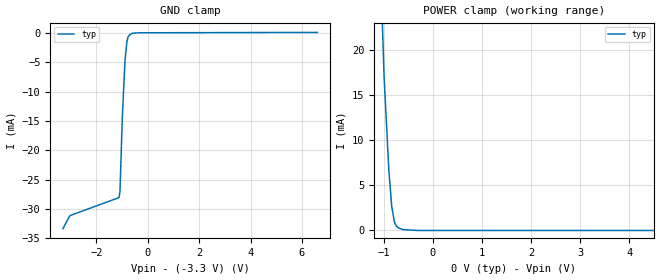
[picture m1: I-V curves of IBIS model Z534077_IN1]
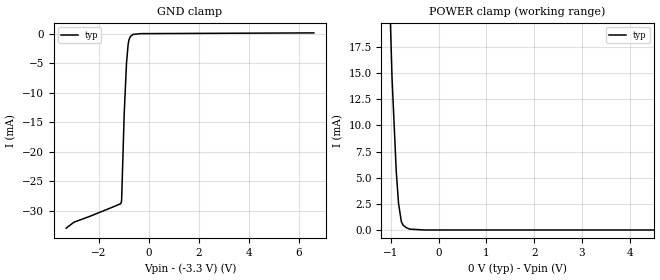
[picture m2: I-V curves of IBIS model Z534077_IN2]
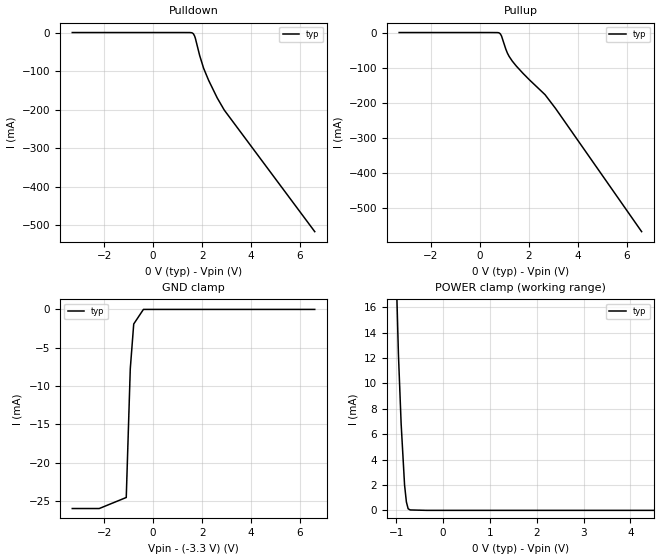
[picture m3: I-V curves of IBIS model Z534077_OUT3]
| YOU ARE ONLY AUTHORIZED TO USE THIS SOFTWARE
| ACCORDING TO LICENSOR'S LICENSE RESTRICTIONS.
[IBIS Ver] 3.1
[File Name] mc100lvel17dw_-33.ibs
[File Rev] 3.0
[Source] Measured and created by ICX Technology
[Date] 2/18/2004
[Copyright]
| (C) COPYRIGHT 1993-2000
| MENTOR GRAPHICS CORPORATION
| ICX STANDARD LIBRARY, ICX PROJECT MODELING,
| ICX CUSTOM MODELING, ICX VENDOR MODEL
| ALL RIGHTS RESERVED.
| THE FOLLOWING ARE TRADEMARKS OR SERVICE MARKS OF
| MENTOR GRAPHICS CORPORATION:ICX (R), ICX STANDARD
| LIBRARY(R), ICX PROJECT MODELING(R), ICX CUSTOM
| MODELING(R), qualityIBIS(TM), MODELVIEWER(TM),
| AND MODELEDITOR(TM)
| ALL COPIES OF SOFTWARE, INCLUDING BUT NOT LIMITED TO
| ANY MODIFICATIONS, ENHANCEMENTS OR DERIVATIVE WORKS,
| MUST CONTAIN ALL MENTOR GRAPHICS CORPORATION'S
| NOTICES AND LEGENDS, INCLUDING THOSE EMBEDDED IN
| SOFTWARE AND THOSE AFFIXED TO SOFTWARE MEDIUM
| AND CONTAINER, AS RECEIVED FROM MENTOR GRAPHICS
| CORPORATION.
|  ZAP Model Builder 2.7
[Component] MC100LVEL17DW_-33
[Manufacturer] OnSemiconductor
[Package]
| variable   typ   min   max
R_pkg  .178ohms NA NA
L_pkg  4.43nH NA NA
C_pkg  .62pF NA NA
[Pin] signal_name  model_name  R_pin  L_pin C_pin
1 VCC POWER .186 5.37n .68p
2 D0 Z534077_IN1 .182 4.89n .65p
3 _D0 Z534077_IN2 .178 4.42n .62p
4 D1 Z534077_IN1 .174 3.96n .59p
5 _D1 Z534077_IN2 .17 3.51n .56p
6 D2 Z534077_IN1 .17 3.51n .56p
7 _D2 Z534077_IN2 .174 3.96n .59p
8 D3 Z534077_IN1 .178 4.42n .62p
9 _D3 Z534077_IN2 .182 4.89n .65p
10 VBB NC .186 5.37n .68p
11 VEE POWER .186 5.37n .68p
12 _Q3 Z534077_OUT3 .182 4.89n .65p
13 Q3 Z534077_OUT3 .178 4.42n .62p
14 _Q2 Z534077_OUT3 .174 3.96n .59p
15 Q2 Z534077_OUT3 .17 3.51n .56p
16 _Q1 Z534077_OUT3 .17 3.51n .56p
17 Q1 Z534077_OUT3 .174 3.96n .59p
18 _Q0 Z534077_OUT3 .178 4.42n .62p
19 Q0 Z534077_OUT3 .182 4.89n .65p
20 VCC POWER .186 5.37n .68p
| Models and submodels in the file (3): Z534077_IN1 (Input_ECL), Z534077_IN2 (Input_ECL), Z534077_OUT3 (Output_ECL)
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| (C) COPYRIGHT 1993-2000
| MENTOR GRAPHICS CORPORATION
| ICX STANDARD LIBRARY, ICX PROJECT MODELING,
| ICX CUSTOM MODELING, ICX VENDOR MODEL
| ALL RIGHTS RESERVED.
| THE FOLLOWING ARE TRADEMARKS OR SERVICE MARKS OF
| MENTOR GRAPHICS CORPORATION:ICX (R), ICX STANDARD
| LIBRARY(R), ICX PROJECT MODELING(R), ICX CUSTOM
| MODELING(R), qualityIBIS(TM), MODELVIEWER(TM),
| AND MODELEDITOR(TM)
| ALL COPIES OF SOFTWARE, INCLUDING BUT NOT LIMITED TO
| ANY MODIFICATIONS, ENHANCEMENTS OR DERIVATIVE WORKS,
| MUST CONTAIN ALL MENTOR GRAPHICS CORPORATION'S
| NOTICES AND LEGENDS, INCLUDING THOSE EMBEDDED IN
| SOFTWARE AND THOSE AFFIXED TO SOFTWARE MEDIUM
| AND CONTAINER, AS RECEIVED FROM MENTOR GRAPHICS
| CORPORATION.
| Model Application Version 1.89 2/18/99.
[Model] Z534077_IN1
Model_type Input_ECL
Vinl = -1.475V
Vinh = -1.165V
C_comp 2.00pF NA NA
| variable typ   min   max
[Voltage Range] -3.300V NA NA
[GND Clamp Reference] -3.300V NA NA
[POWER Clamp Reference] 0.000V NA NA
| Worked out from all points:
|   GND clamp passes 1 mA (typ) near -0.79 V on its own axis
|   POWER clamp passes 1 mA (typ) near -0.78 V on its own axis
[GND Clamp]
-3.3V     -33.35mA   NA         NA
-3.039V   -31.17mA   NA         NA
-1.114V   -27.96mA   NA         NA
-1.081V   -26.98mA   NA         NA
-992mV    -14.59mA   NA         NA
-889mV    -4.951mA   NA         NA
-810mV    -1.384mA   NA         NA
-772mV    -785.8uA   NA         NA
-716mV    -368.9uA   NA         NA
-601mV    -60.26uA   NA         NA
-300.5mV  12.94uA    NA         NA
6.6V      79.97uA    NA         NA
[POWER Clamp]
-3.3V     856.1mA    NA         NA
-1.161V   57.46mA    NA         NA
-1.052V   26.82mA    NA         NA
-995mV    17.08mA    NA         NA
-898.4mV  6.742mA    NA         NA
-839.7mV  2.664mA    NA         NA
-779.9mV  848.9uA    NA         NA
-742.4mV  473uA      NA         NA
-703.1mV  295.1uA    NA         NA
-606.3mV  86.49uA    NA         NA
-303.1mV  0A         NA         NA
6.6V      0A         NA         NA
| (C) COPYRIGHT 1993-2000
| MENTOR GRAPHICS CORPORATION
| ICX STANDARD LIBRARY, ICX PROJECT MODELING,
| ICX CUSTOM MODELING, ICX VENDOR MODEL
| ALL RIGHTS RESERVED.
| THE FOLLOWING ARE TRADEMARKS OR SERVICE MARKS OF
| MENTOR GRAPHICS CORPORATION:ICX (R), ICX STANDARD
| LIBRARY(R), ICX PROJECT MODELING(R), ICX CUSTOM
| MODELING(R), qualityIBIS(TM), MODELVIEWER(TM),
| AND MODELEDITOR(TM)
| ALL COPIES OF SOFTWARE, INCLUDING BUT NOT LIMITED TO
| ANY MODIFICATIONS, ENHANCEMENTS OR DERIVATIVE WORKS,
| MUST CONTAIN ALL MENTOR GRAPHICS CORPORATION'S
| NOTICES AND LEGENDS, INCLUDING THOSE EMBEDDED IN
| SOFTWARE AND THOSE AFFIXED TO SOFTWARE MEDIUM
| AND CONTAINER, AS RECEIVED FROM MENTOR GRAPHICS
| CORPORATION.
| Model Application Version 1.89 2/18/99.
[Model] Z534077_IN2
Model_type Input_ECL
Vinl = -1.475V
Vinh = -1.165V
C_comp 2.000pF NA NA
| variable typ   min   max
[Voltage Range] -3.300V NA NA
[GND Clamp Reference] -3.300V NA NA
[POWER Clamp Reference] 0.000V NA NA
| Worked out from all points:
|   GND clamp passes 1 mA (typ) near -0.78 V on its own axis
|   POWER clamp passes 1 mA (typ) near -0.79 V on its own axis
[GND Clamp]
-3.3V     -32.96mA   NA         NA
-2.994V   -31.96mA   NA         NA
-1.104V   -28.68mA   NA         NA
-1.085V   -28.23mA   NA         NA
-982mV    -13.63mA   NA         NA
-889mV    -4.957mA   NA         NA
-824mV    -1.836mA   NA         NA
-792mV    -1.098mA   NA         NA
-715mV    -428.1uA   NA         NA
-621mV    -142.6uA   NA         NA
-310.5mV  -18.17uA   NA         NA
6.6V      106.9uA    NA         NA
[POWER Clamp]
-3.3V     929.6mA    NA         NA
-1.113V   50.73mA    NA         NA
-1.016V   20.86mA    NA         NA
-976.6mV  14.64mA    NA         NA
-888mV    5.636mA    NA         NA
-839.8mV  2.538mA    NA         NA
-781mV    793.7uA    NA         NA
-742.6mV  449.6uA    NA         NA
-683.6mV  233.2uA    NA         NA
-606mV    82.44uA    NA         NA
-303mV    0A         NA         NA
6.6V      0A         NA         NA
| (C) COPYRIGHT 1993-2000
| MENTOR GRAPHICS CORPORATION
| ICX STANDARD LIBRARY, ICX PROJECT MODELING,
| ICX CUSTOM MODELING, ICX VENDOR MODEL
| ALL RIGHTS RESERVED.
| THE FOLLOWING ARE TRADEMARKS OR SERVICE MARKS OF
| MENTOR GRAPHICS CORPORATION:ICX (R), ICX STANDARD
| LIBRARY(R), ICX PROJECT MODELING(R), ICX CUSTOM
| MODELING(R), qualityIBIS(TM), MODELVIEWER(TM),
| AND MODELEDITOR(TM)
| ALL COPIES OF SOFTWARE, INCLUDING BUT NOT LIMITED TO
| ANY MODIFICATIONS, ENHANCEMENTS OR DERIVATIVE WORKS,
| MUST CONTAIN ALL MENTOR GRAPHICS CORPORATION'S
| NOTICES AND LEGENDS, INCLUDING THOSE EMBEDDED IN
| SOFTWARE AND THOSE AFFIXED TO SOFTWARE MEDIUM
| AND CONTAINER, AS RECEIVED FROM MENTOR GRAPHICS
| CORPORATION.
| Model Application Version 1.89 2/18/99.
[Model] Z534077_OUT3
Model_type Output_ECL
Vref=-2.000V
Rref=50.00ohms
Cref=0.000F
Vmeas=-1.320V
C_comp 2.000pF NA NA
| variable typ   min   max
[Voltage Range] -3.300V NA NA
[POWER Clamp Reference] 0.000V NA NA
[Pullup Reference] 0.000V NA NA
[Pulldown Reference] 0.000V NA NA
[GND Clamp Reference] -3.300V NA NA
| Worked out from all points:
|   POWER clamp passes 1 mA (typ) near -0.80 V on its own axis
[GND Clamp]
-3.3V     -25.99mA   NA         NA
-2.198V   -25.99mA   NA         NA
-1.096V   -24.55mA   NA         NA
-932mV    -7.758mA   NA         NA
-791mV    -1.901mA   NA         NA
-395.5mV  0A         NA         NA
6.6V      0A         NA         NA
[Pulldown]
-3.3V     255.4uA    NA         NA
1.505V    183.8uA    NA         NA
1.645V    -2.926mA   NA         NA
1.698V    -9.252mA   NA         NA
1.729V    -15.55mA   NA         NA
1.899V    -58.87mA   NA         NA
2.062V    -92.46mA   NA         NA
2.267V    -123.8mA   NA         NA
2.617V    -169.4mA   NA         NA
2.905V    -201mA     NA         NA
6.6V      -516.6mA   NA         NA
[Pullup]
-3.3V     184uA      NA         NA
706.5mV   35.08uA    NA         NA
825.2mV   -3.06mA    NA         NA
878.7mV   -9.449mA   NA         NA
1.055V    -47.3mA    NA         NA
1.124V    -59.15mA   NA         NA
1.319V    -81.31mA   NA         NA
1.759V    -116.4mA   NA         NA
2.656V    -177mA     NA         NA
3.09V     -216.8mA   NA         NA
6.6V      -567.8mA   NA         NA
[POWER Clamp]
-3.3V     787.3mA    NA         NA
-1.123V   43.67mA    NA         NA
-1.025V   21.57mA    NA         NA
-956.4mV  12.28mA    NA         NA
-898.4mV  6.815mA    NA         NA
-825.2mV  1.992mA    NA         NA
-786.2mV  662.9uA    NA         NA
-748.6mV  125.2uA    NA         NA
-704.3mV  32.7uA     NA         NA
-352.1mV  0A         NA         NA
6.6V      0A         NA         NA
[Ramp]
| variable typ min max
dV/dt_r 444.6m/858.6p NA NA
dV/dt_f 444.6m/684.3p NA NA
R_load = 50.00Ohms
